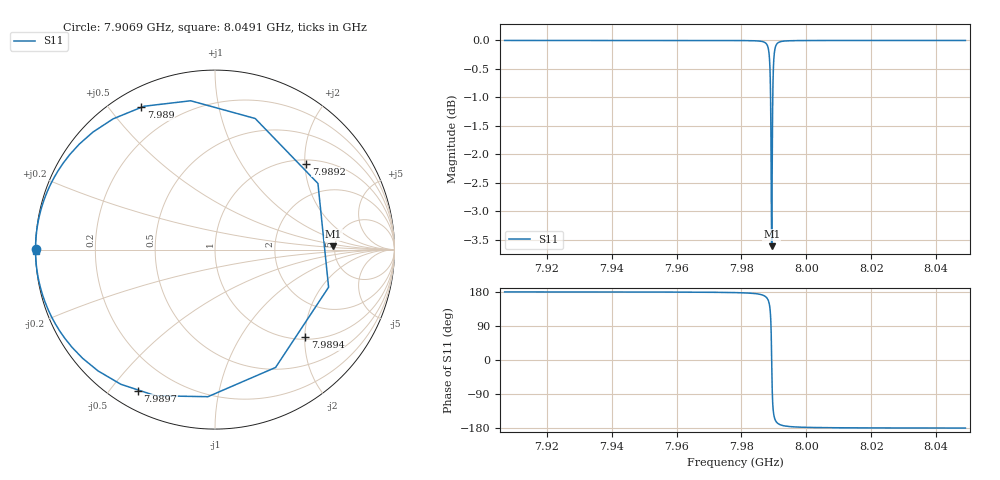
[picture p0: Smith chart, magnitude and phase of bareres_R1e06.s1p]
! Touchstone file exported from HFSS 2024.2.0
!  File:  C:/Users/artho/Documents/Ansoft/ansys_bareres_R1e06.aedt
!  Generated:  09:36:32 PM Sep  8, 2026
!  Design:  HFSS_BSD
!  Project:  ansys_bareres_R1e06
!  Setup:  Setup1
!  Solution:  Sweep1
# GHz S MA R 1000000.000000
! Terminal data exported
! Port[1] = p1
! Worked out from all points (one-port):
!   20001 points, 7.9069 GHz to 8.0491 GHz, reference 1e+06 ohm
!   lowest |S11| = -3.6 dB at 7.9893 GHz (marker M1), VSWR 4.88, Z = 4.86e+06 + j3.16e+05 ohm
!   |S11| at or under -10 dB: nowhere
!   S11 on the Smith chart (normalised r, x): 7.9069 GHz: 0.00, +0.00; 7.989 GHz: 0.08, +0.61; 7.9892 GHz: 1.09, +2.03; 7.9894 GHz: 1.06, -2.01; 7.9897 GHz: 0.07, -0.59; 8.0491 GHz: 0.00, -0.00
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7.906949  1 179.7
7.924712  1 179.6
7.942475  1 179.5
7.960244  1 179.2
7.978  0.9999 177.9
7.984991  0.999 174.4
7.986626  0.9975 171.0
7.98762  0.9937 165.7
7.988217  0.9853 158.1
7.988395  0.9794 154.0
7.988551  0.9708 148.8
7.988757  0.9488 138.1
7.988963  0.8944 117.4
7.989226  0.698 43.3
7.989304  0.6599 1.6
7.989389  0.6992 -44.1
7.989659  0.8979 -118.6
7.989858  0.949 -138.2
7.990057  0.9704 -148.6
7.990192  0.9782 -153.2
7.990327  0.9833 -156.6
7.990747  0.9914 -163.3
7.991386  0.9958 -168.4
7.992324  0.998 -172.0
7.995763  0.9996 -176.2
8.013525  1 -179.0
8.031288  1 -179.4
8.049051  1 -179.6
